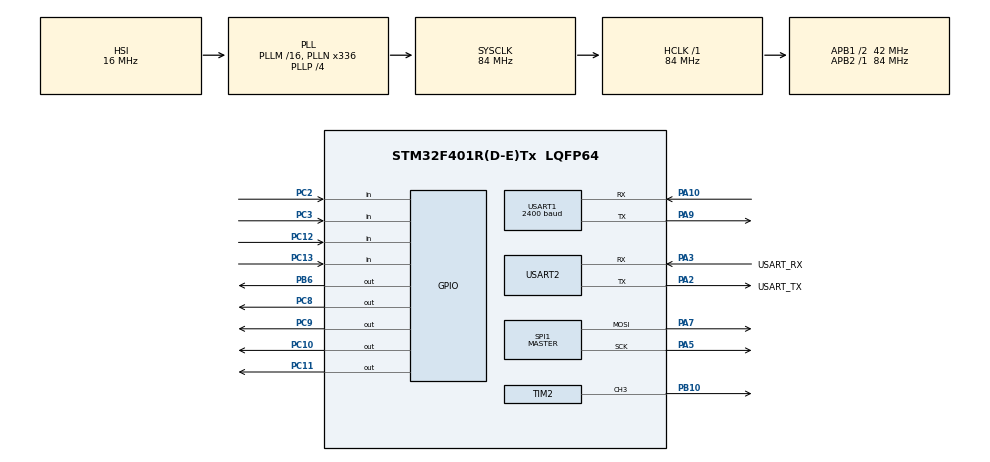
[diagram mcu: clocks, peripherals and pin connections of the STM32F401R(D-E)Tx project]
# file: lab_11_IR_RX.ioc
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Dma.Request0=SPI1_TX
Dma.SPI1_TX.0.Direction=DMA_MEMORY_TO_PERIPH
Dma.SPI1_TX.0.FIFOMode=DMA_FIFOMODE_DISABLE
Dma.SPI1_TX.0.Instance=DMA2_Stream3
Dma.SPI1_TX.0.MemDataAlignment=DMA_MDATAALIGN_BYTE
Dma.SPI1_TX.0.MemInc=DMA_MINC_ENABLE
Dma.SPI1_TX.0.Mode=DMA_NORMAL
Dma.SPI1_TX.0.PeriphDataAlignment=DMA_PDATAALIGN_BYTE
Dma.SPI1_TX.0.PeriphInc=DMA_PINC_DISABLE
Dma.SPI1_TX.0.Priority=DMA_PRIORITY_LOW
Mcu.Family=STM32F4
Mcu.Name=STM32F401R(D-E)Tx
Mcu.Package=LQFP64
NVIC.DMA2_Stream3_IRQn=true\:0\:0\:false\:false\:true\:false\:true\:true
NVIC.PriorityGroup=NVIC_PRIORITYGROUP_0
NVIC.TIM1_UP_TIM10_IRQn=true\:0\:0\:false\:false\:true\:true\:true\:true
NVIC.TIM3_IRQn=true\:0\:0\:false\:false\:true\:true\:true\:true
NVIC.USART1_IRQn=true\:0\:0\:false\:false\:true\:true\:true\:true
PA10.Mode=Asynchronous
PA10.Signal=USART1_RX
PA13.GPIO_Label=TMS
PA13.Mode=Serial_Wire
PA13.Signal=SYS_JTMS-SWDIO
PA14.GPIO_Label=TCK
PA14.Mode=Serial_Wire
PA14.Signal=SYS_JTCK-SWCLK
PA2.GPIO_Label=USART_TX
PA2.GPIO_Mode=GPIO_MODE_AF_PP
PA2.GPIO_PuPd=GPIO_NOPULL
PA2.GPIO_Speed=GPIO_SPEED_FREQ_LOW
PA2.Mode=Asynchronous
PA2.Signal=USART2_TX
PA3.GPIO_Label=USART_RX
PA3.GPIO_Mode=GPIO_MODE_AF_PP
PA3.GPIO_PuPd=GPIO_NOPULL
PA3.GPIO_Speed=GPIO_SPEED_FREQ_LOW
PA3.Mode=Asynchronous
PA3.Signal=USART2_RX
PA5.Mode=TX_Only_Simplex_Unidirect_Master
PA5.Signal=SPI1_SCK
PA7.Mode=TX_Only_Simplex_Unidirect_Master
PA7.Signal=SPI1_MOSI
PA9.Mode=Asynchronous
PA9.Signal=USART1_TX
PB10.Signal=S_TIM2_CH3
PB3.GPIO_Label=SWO
PB3.Signal=SYS_JTDO-SWO
PB6.Signal=GPIO_Output
PC10.Signal=GPIO_Output
PC11.Signal=GPIO_Output
PC12.Signal=GPIO_Input
PC13-ANTI_TAMP.Signal=GPIO_Input
PC14-OSC32_IN.Mode=LSE-External-Oscillator
PC14-OSC32_IN.Signal=RCC_OSC32_IN
PC15-OSC32_OUT.Mode=LSE-External-Oscillator
PC15-OSC32_OUT.Signal=RCC_OSC32_OUT
PC2.Signal=GPIO_Input
PC3.Signal=GPIO_Input
PC8.Signal=GPIO_Output
PC9.Signal=GPIO_Output
PH0\ -\ OSC_IN.Mode=HSE-External-Clock-Source
PH0\ -\ OSC_IN.Signal=RCC_OSC_IN
PH1\ -\ OSC_OUT.Mode=HSE-External-Clock-Source
PH1\ -\ OSC_OUT.Signal=RCC_OSC_OUT
ProjectManager.HeapSize=0x200
ProjectManager.StackSize=0x400
ProjectManager.TargetToolchain=STM32CubeIDE
RCC.48MHZClocksFreq_Value=48000000
RCC.AHBFreq_Value=84000000
RCC.APB1CLKDivider=RCC_HCLK_DIV2
RCC.APB1Freq_Value=42000000
RCC.APB1TimFreq_Value=84000000
RCC.APB2Freq_Value=84000000
RCC.APB2TimFreq_Value=84000000
RCC.CortexFreq_Value=84000000
RCC.HCLKFreq_Value=84000000
RCC.HSE_VALUE=8000000
RCC.HSI_VALUE=16000000
RCC.PLLN=336
RCC.PLLP=RCC_PLLP_DIV4
RCC.PLLQ=7
RCC.SYSCLKFreq_VALUE=84000000
RCC.SYSCLKSource=RCC_SYSCLKSOURCE_PLLCLK
RCC.VCOOutputFreq_Value=336000000
SH.S_TIM2_CH3.0=TIM2_CH3,PWM Generation3 CH3
SPI1.BaudRatePrescaler=SPI_BAUDRATEPRESCALER_4
SPI1.Direction=SPI_DIRECTION_2LINES
SPI1.Mode=SPI_MODE_MASTER
SPI1.VirtualType=VM_MASTER
TIM1.Period=10-1
TIM1.Prescaler=3500-1
TIM1.RepetitionCounter=0
TIM10.Period=4000-1
TIM10.Prescaler=84-1
TIM2.Channel-PWM\ Generation3\ CH3=TIM_CHANNEL_3
TIM2.Period=10-1
TIM2.Prescaler=221-1
TIM2.Pulse-PWM\ Generation3\ CH3=5
TIM3.Period=30-1
TIM3.Prescaler=8400-1
USART1.BaudRate=2400
USART1.Parity=PARITY_ODD
USART1.VirtualMode=VM_ASYNC
USART2.VirtualMode=VM_ASYNC
VP_TIM10_VS_ClockSourceINT.Mode=Enable_Timer
VP_TIM1_VS_ClockSourceINT.Mode=Internal
VP_TIM2_VS_ClockSourceINT.Mode=Internal
VP_TIM3_VS_ClockSourceINT.Mode=Internal
board=NUCLEO-F401RE

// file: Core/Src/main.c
/* USER CODE BEGIN Header */
/**
  ******************************************************************************
  * @file           : main.c
  * @brief          : Main program body
  ******************************************************************************
  * @attention
  *
  * Copyright (c) 2023 STMicroelectronics.
  * All rights reserved.
  *
  * This software is licensed under terms that can be found in the LICENSE file
  * in the root directory of this software component.
  * If no LICENSE file comes with this software, it is provided AS-IS.
  *
  ******************************************************************************
  */
/* USER CODE END Header */
#include "main.h"

/* USER CODE BEGIN PD */
#define RCLK_PIN GPIOB, GPIO_PIN_6

/* USER CODE END PD */

SPI_HandleTypeDef hspi1;
DMA_HandleTypeDef hdma_spi1_tx;

TIM_HandleTypeDef htim1;
TIM_HandleTypeDef htim2;
TIM_HandleTypeDef htim3;
TIM_HandleTypeDef htim10;

UART_HandleTypeDef huart1;
UART_HandleTypeDef huart2;

/* USER CODE BEGIN PV */
volatile uint8_t buffer[2] = {0};
volatile int my_index = 0;
volatile int flag_keyboard = 0;

char stringa[64];

const uint16_t COLUMN_PIN[]= {
		GPIO_PIN_8,
		GPIO_PIN_9,
		GPIO_PIN_10,
		GPIO_PIN_11
};

const uint16_t ROW_PIN[] = {
		GPIO_PIN_12,
		GPIO_PIN_13,
		GPIO_PIN_2,
		GPIO_PIN_3
};

uint8_t key_state[16] = { 0 };

int column_index = 0;

uint8_t matrix_QM[5][2] = {
		{0, 16},
		{32, 8},
		{69, 4},
		{72, 2},
		{48, 1},
};

uint8_t matrix_A[5][2] = {
		{31, 16},
		{36, 8},
		{68, 4},
		{36, 2},
		{31, 1},
};

uint8_t matrix_B[5][2] = {
		{127, 16},
		{73, 8},
		{73, 4},
		{73, 2},
		{54, 1},
};

uint8_t matrix_C[5][2] = {
		{62, 16},
		{65, 8},
		{65, 4},
		{65, 2},
		{34, 1},
};

uint8_t matrix_D[5][2] = {
		{127, 16},
		{65, 8},
		{65, 4},
		{65, 2},
		{62, 1},
};

uint8_t matrix_E[5][2] = {
		{127, 16},
		{73, 8},
		{73, 4},
		{73, 2},
		{73, 1},
};

uint8_t matrix_F[5][2] = {
		{127, 16},
		{72, 8},
		{72, 4},
		{72, 2},
		{72, 1},
};

uint8_t matrix_0[5][2] = {
		{62, 16},
		{113, 8},
		{73, 4},
		{71, 2},
		{62, 1},
};

uint8_t matrix_1[5][2] = {
		{16, 16},
		{33, 8},
		{127, 4},
		{1, 2},
		{0, 1},
};

uint8_t matrix_2[5][2] = {
		{33, 16},
		{67, 8},
		{69, 4},
		{73, 2},
		{49, 1},
};

uint8_t matrix_3[5][2] = {
		{34, 16},
		{65, 8},
		{73, 4},
		{73, 2},
		{54, 1},
};

uint8_t matrix_4[5][2] = {
		{120, 16},
		{8, 8},
		{8, 4},
		{8, 2},
		{127, 1},
};

uint8_t matrix_5[5][2] = {
		{114, 16},
		{81, 8},
		{81, 4},
		{81, 2},
		{78, 1},
};

uint8_t matrix_6[5][2] = {
		{62, 16},
		{73, 8},
		{73, 4},
		{73, 2},
		{38, 1},
};

uint8_t matrix_7[5][2] = {
		{64, 16},
		{64, 8},
		{79, 4},
		{80, 2},
		{96, 1}
};

uint8_t matrix_8[5][2] = {
		{54, 16},
		{73, 8},
		{73, 4},
		{73, 2},
		{54, 1}
};

uint8_t matrix_9[5][2] = {
		{50, 16},
		{73, 8},
		{73, 4},
		{73, 2},
		{62, 1}
};

uint8_t* matrix = matrix_QM;

char RX_byte = 0;
char command = 0;
int new_command = 0;
char RX_byte2 = 0;

uint8_t** charmap[256];

/* USER CODE END PV */

void SystemClock_Config(void);
static void MX_GPIO_Init(void);
static void MX_DMA_Init(void);
static void MX_USART2_UART_Init(void);
static void MX_TIM2_Init(void);
static void MX_TIM1_Init(void);
static void MX_TIM3_Init(void);
static void MX_USART1_UART_Init(void);
static void MX_TIM10_Init(void);
static void MX_SPI1_Init(void);

/* USER CODE BEGIN 0 */

void init_char_map(void) {
	for(int i = 0; i < 256; i++) {
		charmap[i] = matrix_QM;
	}

	charmap['0'] = matrix_0;
	charmap['1'] = matrix_1;
	charmap['2'] = matrix_2;
	charmap['3'] = matrix_3;
	charmap['4'] = matrix_4;
	charmap['5'] = matrix_5;
	charmap['6'] = matrix_6;
	charmap['7'] = matrix_7;
	charmap['8'] = matrix_8;
	charmap['9'] = matrix_9;
	charmap['A'] = matrix_A;
	charmap['B'] = matrix_B;
	charmap['C'] = matrix_C;
	charmap['D'] = matrix_D;
	charmap['E'] = matrix_E;
	charmap['F'] = matrix_F;
}

void show_letter(char digit) {
	matrix = charmap[(uint8_t) digit];
}

void continue_TX_callback() {
	uint16_t bit = *(uint16_t*)buffer;
	bit = (bit >> my_index) & 1;
	my_index++;

	if (bit) {
		HAL_TIM_PWM_Stop(&htim2, TIM_CHANNEL_3);
		//HAL_GPIO_WritePin(GPIOA, GPIO_PIN_5, 0);
	} else {
		HAL_TIM_PWM_Start(&htim2, TIM_CHANNEL_3);
		//HAL_GPIO_WritePin(GPIOA, GPIO_PIN_5, 1);
	}

	if (my_index > 9) {
		HAL_TIM_Base_Stop(&htim1);
		HAL_GPIO_WritePin(GPIOA, GPIO_PIN_5, 0);
	}
}

void scan_keyboard_callback() {
	flag_keyboard = 1;
}

void LED_matrix_callback() {
	HAL_GPIO_WritePin(RCLK_PIN, GPIO_PIN_RESET);

//	int UART_length = snprintf(stringa, sizeof(stringa), "%d %d\n\r", matrix[0], matrix[0]);
//	HAL_UART_Transmit(&huart2, stringa, UART_length, 100);

	HAL_SPI_Transmit_DMA(&hspi1, &matrix[2 * column_index], 2);
	if(++column_index > 4) column_index = 0;
}

void HAL_TIM_PeriodElapsedCallback(TIM_HandleTypeDef *htim) {
	if (htim == &htim3) scan_keyboard_callback();
	else if (htim == &htim1) continue_TX_callback();
	if(htim == &htim10) LED_matrix_callback();
}

void HAL_UART_RxCpltCallback(UART_HandleTypeDef* huart) {
	if (huart != &huart1) return;

	int UART_length = snprintf(stringa, sizeof(stringa), "received: %c\n\r", RX_byte);
	HAL_UART_Transmit(&huart2, stringa, UART_length, 100);

	HAL_UART_Receive_IT(&huart1, &RX_byte, 1);

	command = RX_byte;
	new_command = 1;
}

void HAL_SPI_TxCpltCallback(SPI_HandleTypeDef *hspi) {
	if(hspi != &hspi1) return;

	HAL_GPIO_WritePin(RCLK_PIN, GPIO_PIN_SET);
}

void transmit_byte(uint8_t data) {
	HAL_GPIO_WritePin(GPIOA, GPIO_PIN_5, 1);

	buffer[0] = (data << 1); // 0000001P xxxxxxx0

	uint8_t parity = 0;
	for (int i = 0; i < 7; i++) {
		parity ^= (data >> i) & 1; // odd parity
	}

	buffer[1] = 0b10 | parity;

	my_index = 0;

	HAL_TIM_Base_Start_IT(&htim1);
}

void scan_keyboard(int* col_index) {
	HAL_GPIO_WritePin(GPIOC, COLUMN_PIN[*col_index], GPIO_PIN_SET);

	if (!flag_keyboard) return; // every time it is set to true, we pass to the next column
	//HAL_Delay(5); // ADESSO IL DEBOUNINC SI FA COL TIMER

	for (int row_index = 0; row_index < 4; row_index++) {
	  int row = (1 - HAL_GPIO_ReadPin(GPIOC, ROW_PIN[row_index])) * (row_index + 1);

	  int key_index = *col_index + (row - 1) * 4; // it's correct if row > 0

	  if (row != 0 && key_state[key_index] == 0) {
		  key_state[key_index] = 1;

		  if (((row - 1) == 3) || ((row - 1) >= 2 && *col_index >= 2)) {
			  key_index += 7;
		  }

		  char c = '0' + key_index;

		  transmit_byte(c);

		  int UART_length = snprintf(stringa, sizeof(stringa), "pressed: %c (%d, %d) -> %d\n\r", c, *col_index, row, key_index);
		  HAL_UART_Transmit(&huart2, stringa, UART_length, 100);

	  } else if (row == 0) {
		  key_state[*col_index + row_index * 4] = 0;
	  }
	}

	HAL_GPIO_WritePin(GPIOC, COLUMN_PIN[*col_index], GPIO_PIN_RESET);

	*col_index = (*col_index + 1) % 4;

	flag_keyboard = 0;
}

void show_new_command() {
	if(new_command) {
		show_letter(command);
		new_command = 0;
	}
}

/* USER CODE END 0 */

int main(void)
{

  /* MCU Configuration--------------------------------------------------------*/

  /* Reset of all peripherals, Initializes the Flash interface and the Systick. */
  HAL_Init();

  /* Configure the system clock */
  SystemClock_Config();

  /* Initialize all configured peripherals */
  MX_GPIO_Init();
  MX_DMA_Init();
  MX_USART2_UART_Init();
  MX_TIM2_Init();
  MX_TIM1_Init();
  MX_TIM3_Init();
  MX_USART1_UART_Init();
  MX_TIM10_Init();
  MX_SPI1_Init();
  /* USER CODE BEGIN 2 */

  int IR_index = 0;

HAL_GPIO_WritePin(GPIOC, COLUMN_PIN[0], GPIO_PIN_RESET);
HAL_GPIO_WritePin(GPIOC, COLUMN_PIN[1], GPIO_PIN_RESET);
HAL_GPIO_WritePin(GPIOC, COLUMN_PIN[2], GPIO_PIN_RESET);
HAL_GPIO_WritePin(GPIOC, COLUMN_PIN[3], GPIO_PIN_RESET);

int keyboard_col_index = 0; // used to scan the column of the keyboard

int UART_length = snprintf(stringa, sizeof(stringa), "--- INIT ---\n\r");
HAL_UART_Transmit(&huart2, stringa, UART_length, 100);

init_char_map();
HAL_UART_Receive_IT(&huart1, &RX_byte, 1);

HAL_TIM_Base_Start_IT(&htim3);
HAL_TIM_Base_Start_IT(&htim10);

  /* USER CODE END 2 */

  /* Infinite loop */
  /* USER CODE BEGIN WHILE */
  while (1)
  {
	scan_keyboard(&keyboard_col_index);

	show_new_command();

    /* USER CODE END WHILE */

  }
}

void SystemClock_Config(void)
{
  RCC_OscInitTypeDef RCC_OscInitStruct = {0};
  RCC_ClkInitTypeDef RCC_ClkInitStruct = {0};

  /** Configure the main internal regulator output voltage
  */
  __HAL_RCC_PWR_CLK_ENABLE();
  __HAL_PWR_VOLTAGESCALING_CONFIG(PWR_REGULATOR_VOLTAGE_SCALE2);

  /** Initializes the RCC Oscillators according to the specified parameters
  * in the RCC_OscInitTypeDef structure.
  */
  RCC_OscInitStruct.OscillatorType = RCC_OSCILLATORTYPE_HSI;
  RCC_OscInitStruct.HSIState = RCC_HSI_ON;
  RCC_OscInitStruct.HSICalibrationValue = RCC_HSICALIBRATION_DEFAULT;
  RCC_OscInitStruct.PLL.PLLState = RCC_PLL_ON;
  RCC_OscInitStruct.PLL.PLLSource = RCC_PLLSOURCE_HSI;
  RCC_OscInitStruct.PLL.PLLM = 16;
  RCC_OscInitStruct.PLL.PLLN = 336;
  RCC_OscInitStruct.PLL.PLLP = RCC_PLLP_DIV4;
  RCC_OscInitStruct.PLL.PLLQ = 7;
  if (HAL_RCC_OscConfig(&RCC_OscInitStruct) != HAL_OK)
  {
    Error_Handler();
  }

  /** Initializes the CPU, AHB and APB buses clocks
  */
  RCC_ClkInitStruct.ClockType = RCC_CLOCKTYPE_HCLK|RCC_CLOCKTYPE_SYSCLK
                              |RCC_CLOCKTYPE_PCLK1|RCC_CLOCKTYPE_PCLK2;
  RCC_ClkInitStruct.SYSCLKSource = RCC_SYSCLKSOURCE_PLLCLK;
  RCC_ClkInitStruct.AHBCLKDivider = RCC_SYSCLK_DIV1;
  RCC_ClkInitStruct.APB1CLKDivider = RCC_HCLK_DIV2;
  RCC_ClkInitStruct.APB2CLKDivider = RCC_HCLK_DIV1;

  if (HAL_RCC_ClockConfig(&RCC_ClkInitStruct, FLASH_LATENCY_2) != HAL_OK)
  {
    Error_Handler();
  }
}

static void MX_SPI1_Init(void)
{

  /* SPI1 parameter configuration*/
  hspi1.Instance = SPI1;
  hspi1.Init.Mode = SPI_MODE_MASTER;
  hspi1.Init.Direction = SPI_DIRECTION_2LINES;
  hspi1.Init.DataSize = SPI_DATASIZE_8BIT;
  hspi1.Init.CLKPolarity = SPI_POLARITY_LOW;
  hspi1.Init.CLKPhase = SPI_PHASE_1EDGE;
  hspi1.Init.NSS = SPI_NSS_SOFT;
  hspi1.Init.BaudRatePrescaler = SPI_BAUDRATEPRESCALER_4;
  hspi1.Init.FirstBit = SPI_FIRSTBIT_MSB;
  hspi1.Init.TIMode = SPI_TIMODE_DISABLE;
  hspi1.Init.CRCCalculation = SPI_CRCCALCULATION_DISABLE;
  hspi1.Init.CRCPolynomial = 10;
  if (HAL_SPI_Init(&hspi1) != HAL_OK)
  {
    Error_Handler();
  }

}

static void MX_TIM1_Init(void)
{

  TIM_ClockConfigTypeDef sClockSourceConfig = {0};
  TIM_MasterConfigTypeDef sMasterConfig = {0};

  htim1.Instance = TIM1;
  htim1.Init.Prescaler = 3500-1;
  htim1.Init.CounterMode = TIM_COUNTERMODE_UP;
  htim1.Init.Period = 10-1;
  htim1.Init.ClockDivision = TIM_CLOCKDIVISION_DIV1;
  htim1.Init.RepetitionCounter = 0;
  htim1.Init.AutoReloadPreload = TIM_AUTORELOAD_PRELOAD_DISABLE;
  if (HAL_TIM_Base_Init(&htim1) != HAL_OK)
  {
    Error_Handler();
  }
  sClockSourceConfig.ClockSource = TIM_CLOCKSOURCE_INTERNAL;
  if (HAL_TIM_ConfigClockSource(&htim1, &sClockSourceConfig) != HAL_OK)
  {
    Error_Handler();
  }
  sMasterConfig.MasterOutputTrigger = TIM_TRGO_RESET;
  sMasterConfig.MasterSlaveMode = TIM_MASTERSLAVEMODE_DISABLE;
  if (HAL_TIMEx_MasterConfigSynchronization(&htim1, &sMasterConfig) != HAL_OK)
  {
    Error_Handler();
  }

}

static void MX_TIM2_Init(void)
{

  TIM_ClockConfigTypeDef sClockSourceConfig = {0};
  TIM_MasterConfigTypeDef sMasterConfig = {0};
  TIM_OC_InitTypeDef sConfigOC = {0};

  htim2.Instance = TIM2;
  htim2.Init.Prescaler = 221-1;
  htim2.Init.CounterMode = TIM_COUNTERMODE_UP;
  htim2.Init.Period = 10-1;
  htim2.Init.ClockDivision = TIM_CLOCKDIVISION_DIV1;
  htim2.Init.AutoReloadPreload = TIM_AUTORELOAD_PRELOAD_DISABLE;
  if (HAL_TIM_Base_Init(&htim2) != HAL_OK)
  {
    Error_Handler();
  }
  sClockSourceConfig.ClockSource = TIM_CLOCKSOURCE_INTERNAL;
  if (HAL_TIM_ConfigClockSource(&htim2, &sClockSourceConfig) != HAL_OK)
  {
    Error_Handler();
  }
  if (HAL_TIM_PWM_Init(&htim2) != HAL_OK)
  {
    Error_Handler();
  }
  sMasterConfig.MasterOutputTrigger = TIM_TRGO_RESET;
  sMasterConfig.MasterSlaveMode = TIM_MASTERSLAVEMODE_DISABLE;
  if (HAL_TIMEx_MasterConfigSynchronization(&htim2, &sMasterConfig) != HAL_OK)
  {
    Error_Handler();
  }
  sConfigOC.OCMode = TIM_OCMODE_PWM1;
  sConfigOC.Pulse = 5;
  sConfigOC.OCPolarity = TIM_OCPOLARITY_HIGH;
  sConfigOC.OCFastMode = TIM_OCFAST_DISABLE;
  if (HAL_TIM_PWM_ConfigChannel(&htim2, &sConfigOC, TIM_CHANNEL_3) != HAL_OK)
  {
    Error_Handler();
  }
  HAL_TIM_MspPostInit(&htim2);

}

static void MX_TIM3_Init(void)
{

  TIM_ClockConfigTypeDef sClockSourceConfig = {0};
  TIM_MasterConfigTypeDef sMasterConfig = {0};

  htim3.Instance = TIM3;
  htim3.Init.Prescaler = 8400-1;
  htim3.Init.CounterMode = TIM_COUNTERMODE_UP;
  htim3.Init.Period = 30-1;
  htim3.Init.ClockDivision = TIM_CLOCKDIVISION_DIV1;
  htim3.Init.AutoReloadPreload = TIM_AUTORELOAD_PRELOAD_DISABLE;
  if (HAL_TIM_Base_Init(&htim3) != HAL_OK)
  {
    Error_Handler();
  }
  sClockSourceConfig.ClockSource = TIM_CLOCKSOURCE_INTERNAL;
  if (HAL_TIM_ConfigClockSource(&htim3, &sClockSourceConfig) != HAL_OK)
  {
    Error_Handler();
  }
  sMasterConfig.MasterOutputTrigger = TIM_TRGO_RESET;
  sMasterConfig.MasterSlaveMode = TIM_MASTERSLAVEMODE_DISABLE;
  if (HAL_TIMEx_MasterConfigSynchronization(&htim3, &sMasterConfig) != HAL_OK)
  {
    Error_Handler();
  }

}

static void MX_TIM10_Init(void)
{

  htim10.Instance = TIM10;
  htim10.Init.Prescaler = 84-1;
  htim10.Init.CounterMode = TIM_COUNTERMODE_UP;
  htim10.Init.Period = 4000-1;
  htim10.Init.ClockDivision = TIM_CLOCKDIVISION_DIV1;
  htim10.Init.AutoReloadPreload = TIM_AUTORELOAD_PRELOAD_DISABLE;
  if (HAL_TIM_Base_Init(&htim10) != HAL_OK)
  {
    Error_Handler();
  }

}

static void MX_USART1_UART_Init(void)
{

  huart1.Instance = USART1;
  huart1.Init.BaudRate = 2400;
  huart1.Init.WordLength = UART_WORDLENGTH_8B;
  huart1.Init.StopBits = UART_STOPBITS_1;
  huart1.Init.Parity = UART_PARITY_ODD;
  huart1.Init.Mode = UART_MODE_TX_RX;
  huart1.Init.HwFlowCtl = UART_HWCONTROL_NONE;
  huart1.Init.OverSampling = UART_OVERSAMPLING_16;
  if (HAL_UART_Init(&huart1) != HAL_OK)
  {
    Error_Handler();
  }

}

static void MX_USART2_UART_Init(void)
{

  huart2.Instance = USART2;
  huart2.Init.BaudRate = 115200;
  huart2.Init.WordLength = UART_WORDLENGTH_8B;
  huart2.Init.StopBits = UART_STOPBITS_1;
  huart2.Init.Parity = UART_PARITY_NONE;
  huart2.Init.Mode = UART_MODE_TX_RX;
  huart2.Init.HwFlowCtl = UART_HWCONTROL_NONE;
  huart2.Init.OverSampling = UART_OVERSAMPLING_16;
  if (HAL_UART_Init(&huart2) != HAL_OK)
  {
    Error_Handler();
  }

}

static void MX_DMA_Init(void)
{

  /* DMA controller clock enable */
  __HAL_RCC_DMA2_CLK_ENABLE();

  /* DMA interrupt init */
  /* DMA2_Stream3_IRQn interrupt configuration */
  HAL_NVIC_SetPriority(DMA2_Stream3_IRQn, 0, 0);
  HAL_NVIC_EnableIRQ(DMA2_Stream3_IRQn);

}

static void MX_GPIO_Init(void)
{
  GPIO_InitTypeDef GPIO_InitStruct = {0};

  /* GPIO Ports Clock Enable */
  __HAL_RCC_GPIOC_CLK_ENABLE();
  __HAL_RCC_GPIOH_CLK_ENABLE();
  __HAL_RCC_GPIOA_CLK_ENABLE();
  __HAL_RCC_GPIOB_CLK_ENABLE();

  /*Configure GPIO pin Output Level */
  HAL_GPIO_WritePin(GPIOC, GPIO_PIN_8|GPIO_PIN_9|GPIO_PIN_10|GPIO_PIN_11, GPIO_PIN_RESET);

  /*Configure GPIO pin Output Level */
  HAL_GPIO_WritePin(GPIOB, GPIO_PIN_6, GPIO_PIN_RESET);

  /*Configure GPIO pins : PC13 PC2 PC3 PC12 */
  GPIO_InitStruct.Pin = GPIO_PIN_13|GPIO_PIN_2|GPIO_PIN_3|GPIO_PIN_12;
  GPIO_InitStruct.Mode = GPIO_MODE_INPUT;
  GPIO_InitStruct.Pull = GPIO_NOPULL;
  HAL_GPIO_Init(GPIOC, &GPIO_InitStruct);

  /*Configure GPIO pins : PC8 PC9 PC10 PC11 */
  GPIO_InitStruct.Pin = GPIO_PIN_8|GPIO_PIN_9|GPIO_PIN_10|GPIO_PIN_11;
  GPIO_InitStruct.Mode = GPIO_MODE_OUTPUT_PP;
  GPIO_InitStruct.Pull = GPIO_NOPULL;
  GPIO_InitStruct.Speed = GPIO_SPEED_FREQ_LOW;
  HAL_GPIO_Init(GPIOC, &GPIO_InitStruct);

  /*Configure GPIO pin : PB6 */
  GPIO_InitStruct.Pin = GPIO_PIN_6;
  GPIO_InitStruct.Mode = GPIO_MODE_OUTPUT_PP;
  GPIO_InitStruct.Pull = GPIO_NOPULL;
  GPIO_InitStruct.Speed = GPIO_SPEED_FREQ_LOW;
  HAL_GPIO_Init(GPIOB, &GPIO_InitStruct);

}

void Error_Handler(void)
{
  __disable_irq();
  while (1)
  {
  }
}
